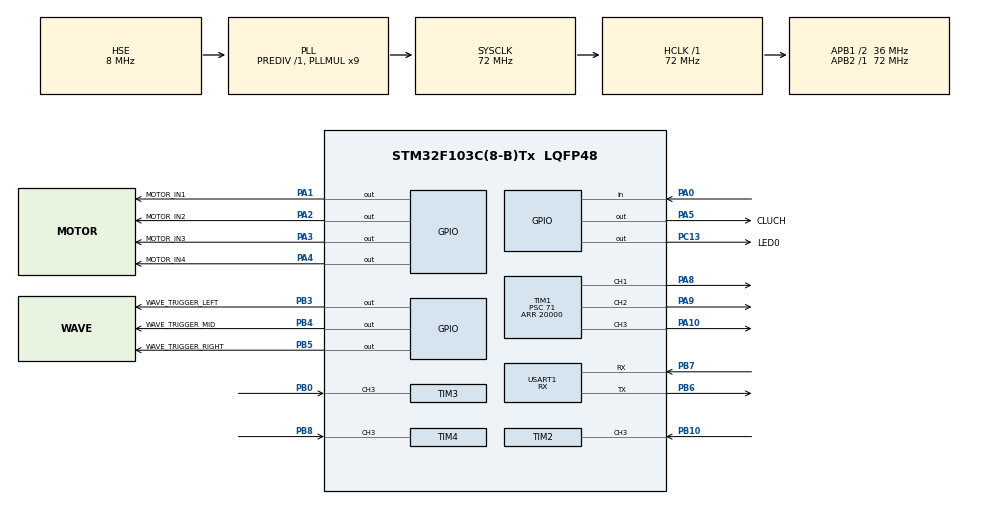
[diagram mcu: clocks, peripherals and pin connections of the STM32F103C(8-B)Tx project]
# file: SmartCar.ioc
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FREERTOS.Tasks01=motor_control,24,128,motor_control_task,Default,NULL,Dynamic,NULL,NULL;wave,25,128,wave_task,Default,NULL,Dynamic,NULL,NULL;uwb,25,128,uwb_task,Default,NULL,Dynamic,NULL,NULL;main_control,25,128,main_control_task,Default,NULL,Dynamic,NULL,NULL
Mcu.Family=STM32F1
Mcu.Name=STM32F103C(8-B)Tx
Mcu.Package=LQFP48
NVIC.PriorityGroup=NVIC_PRIORITYGROUP_4
NVIC.TIM2_IRQn=true\:5\:0\:true\:false\:true\:true\:true\:true
NVIC.TIM3_IRQn=true\:5\:0\:true\:false\:true\:true\:true\:true
NVIC.TIM4_IRQn=true\:5\:0\:true\:false\:true\:true\:true\:true
NVIC.USART1_IRQn=true\:6\:0\:true\:false\:true\:true\:true\:true
PA0-WKUP.Signal=GPIO_Input
PA1.GPIO_Label=MOTOR_IN1
PA1.Signal=GPIO_Output
PA10.Signal=S_TIM1_CH3
PA13.Mode=Serial_Wire
PA13.Signal=SYS_JTMS-SWDIO
PA14.Mode=Serial_Wire
PA14.Signal=SYS_JTCK-SWCLK
PA2.GPIO_Label=MOTOR_IN2
PA2.Signal=GPIO_Output
PA3.GPIO_Label=MOTOR_IN3
PA3.Signal=GPIO_Output
PA4.GPIO_Label=MOTOR_IN4
PA4.Signal=GPIO_Output
PA5.GPIO_Label=CLUCH
PA5.Signal=GPIO_Output
PA8.Signal=S_TIM1_CH1
PA9.Signal=S_TIM1_CH2
PB0.Signal=S_TIM3_CH3
PB10.Signal=S_TIM2_CH3
PB3.GPIO_Label=WAVE_TRIGGER_LEFT
PB3.Signal=GPIO_Output
PB4.GPIO_Label=WAVE_TRIGGER_MID
PB4.Signal=GPIO_Output
PB5.GPIO_Label=WAVE_TRIGGER_RIGHT
PB5.Signal=GPIO_Output
PB6.Mode=Asynchronous
PB6.Signal=USART1_TX
PB7.Mode=Asynchronous
PB7.Signal=USART1_RX
PB8.Signal=S_TIM4_CH3
PC13-TAMPER-RTC.GPIO_Label=LED0
PC13-TAMPER-RTC.GPIO_PuPd=GPIO_PULLUP
PC13-TAMPER-RTC.GPIO_Speed=GPIO_SPEED_FREQ_LOW
PC13-TAMPER-RTC.PinState=GPIO_PIN_SET
PC13-TAMPER-RTC.Signal=GPIO_Output
PD0-OSC_IN.Mode=HSE-External-Oscillator
PD0-OSC_IN.Signal=RCC_OSC_IN
PD1-OSC_OUT.Mode=HSE-External-Oscillator
PD1-OSC_OUT.Signal=RCC_OSC_OUT
ProjectManager.HeapSize=0x200
ProjectManager.StackSize=0x400
ProjectManager.TargetToolchain=MDK-ARM V5
RCC.AHBFreq_Value=72000000
RCC.APB1CLKDivider=RCC_HCLK_DIV2
RCC.APB1Freq_Value=36000000
RCC.APB1TimFreq_Value=72000000
RCC.APB2Freq_Value=72000000
RCC.APB2TimFreq_Value=72000000
RCC.EnbaleCSS=true
RCC.HCLKFreq_Value=72000000
RCC.PLLMUL=RCC_PLL_MUL9
RCC.PLLSourceVirtual=RCC_PLLSOURCE_HSE
RCC.SYSCLKFreq_VALUE=72000000
RCC.SYSCLKSource=RCC_SYSCLKSOURCE_PLLCLK
RCC.USBFreq_Value=72000000
SH.S_TIM1_CH1.0=TIM1_CH1,PWM Generation1 CH1
SH.S_TIM1_CH2.0=TIM1_CH2,PWM Generation2 CH2
SH.S_TIM1_CH3.0=TIM1_CH3,PWM Generation3 CH3
SH.S_TIM2_CH3.0=TIM2_CH3,Input_Capture3_from_TI3
SH.S_TIM3_CH3.0=TIM3_CH3,Input_Capture3_from_TI3
SH.S_TIM4_CH3.0=TIM4_CH3,Input_Capture3_from_TI3
TIM1.AutoReloadPreload=TIM_AUTORELOAD_PRELOAD_ENABLE
TIM1.Channel-PWM\ Generation1\ CH1=TIM_CHANNEL_1
TIM1.Channel-PWM\ Generation2\ CH2=TIM_CHANNEL_2
TIM1.Channel-PWM\ Generation3\ CH3=TIM_CHANNEL_3
TIM1.Period=20000
TIM1.Prescaler=71
TIM2.Channel-Input_Capture3_from_TI3=TIM_CHANNEL_3
TIM2.Prescaler=7199
TIM3.Channel-Input_Capture3_from_TI3=TIM_CHANNEL_3
TIM3.Prescaler=7199
TIM4.Channel-Input_Capture3_from_TI3=TIM_CHANNEL_3
USART1.Mode=MODE_RX
USART1.VirtualMode=VM_ASYNC
VP_FREERTOS_VS_CMSIS_V2.Mode=CMSIS_V2
board=custom

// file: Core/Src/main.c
/* USER CODE BEGIN Header */
/**
  ******************************************************************************
  * @file           : main.c
  * @brief          : Main program body
  ******************************************************************************
  * @attention
  *
  * <h2><center>&copy; Copyright (c) 2021 STMicroelectronics.
  * All rights reserved.</center></h2>
  *
  * This software component is licensed by ST under BSD 3-Clause license,
  * the "License"; You may not use this file except in compliance with the
  * License. You may obtain a copy of the License at:
  *                        opensource.org/licenses/BSD-3-Clause
  *
  ******************************************************************************
  */
/* USER CODE END Header */
#include "main.h"
#include "cmsis_os.h"
#include "tim.h"
#include "usart.h"
#include "gpio.h"

/* USER CODE BEGIN Includes */
#include "wave.h"
#include "uwb.h"
#include "motor.h"
/* USER CODE END Includes */

void SystemClock_Config(void);
void MX_FREERTOS_Init(void);

/* USER CODE BEGIN 0 */
   float lenL=0;
	 float lenM=0;
	 float lenR=0;
	 uint8_t length=0;
	 uint32_t timeL=0;
	 uint32_t timeM=0;
	 uint32_t timeR=0;
	 uint8_t uwb_index=0;
	 uint8_t uwb_index1=0;
	 uint8_t distl=0;
	 uint8_t distr=0;
	 uint8_t last_distl = 0;
	 uint8_t last_distr = 0;
	 uint8_t uwb_dist[20]={0};
/* USER CODE END 0 */

int main(void)
{

  /* MCU Configuration--------------------------------------------------------*/

  /* Reset of all peripherals, Initializes the Flash interface and the Systick. */
  HAL_Init();

  /* Configure the system clock */
  SystemClock_Config();

  /* Initialize all configured peripherals */
  MX_GPIO_Init();
  MX_TIM1_Init();
  MX_TIM3_Init();
  MX_USART1_UART_Init();
  MX_TIM2_Init();
  MX_TIM4_Init();
  /* USER CODE BEGIN 2 */
	Trig_Init();
	motor_init();
	steer_control(0);
	HAL_UART_Receive_IT(&huart1,(uint8_t *)aRxBuffer,1);

  /* USER CODE END 2 */

  /* Init scheduler */
  osKernelInitialize();  /* Call init function for freertos objects (in freertos.c) */
  MX_FREERTOS_Init();
  /* Start scheduler */
  osKernelStart();

  /* We should never get here as control is now taken by the scheduler */
  /* Infinite loop */
  while (1)
  {

  }
}

void SystemClock_Config(void)
{
  RCC_OscInitTypeDef RCC_OscInitStruct = {0};
  RCC_ClkInitTypeDef RCC_ClkInitStruct = {0};

  /** Initializes the RCC Oscillators according to the specified parameters
  * in the RCC_OscInitTypeDef structure.
  */
  RCC_OscInitStruct.OscillatorType = RCC_OSCILLATORTYPE_HSE;
  RCC_OscInitStruct.HSEState = RCC_HSE_ON;
  RCC_OscInitStruct.HSEPredivValue = RCC_HSE_PREDIV_DIV1;
  RCC_OscInitStruct.HSIState = RCC_HSI_ON;
  RCC_OscInitStruct.PLL.PLLState = RCC_PLL_ON;
  RCC_OscInitStruct.PLL.PLLSource = RCC_PLLSOURCE_HSE;
  RCC_OscInitStruct.PLL.PLLMUL = RCC_PLL_MUL9;
  if (HAL_RCC_OscConfig(&RCC_OscInitStruct) != HAL_OK)
  {
    Error_Handler();
  }
  /** Initializes the CPU, AHB and APB buses clocks
  */
  RCC_ClkInitStruct.ClockType = RCC_CLOCKTYPE_HCLK|RCC_CLOCKTYPE_SYSCLK
                              |RCC_CLOCKTYPE_PCLK1|RCC_CLOCKTYPE_PCLK2;
  RCC_ClkInitStruct.SYSCLKSource = RCC_SYSCLKSOURCE_PLLCLK;
  RCC_ClkInitStruct.AHBCLKDivider = RCC_SYSCLK_DIV1;
  RCC_ClkInitStruct.APB1CLKDivider = RCC_HCLK_DIV2;
  RCC_ClkInitStruct.APB2CLKDivider = RCC_HCLK_DIV1;

  if (HAL_RCC_ClockConfig(&RCC_ClkInitStruct, FLASH_LATENCY_2) != HAL_OK)
  {
    Error_Handler();
  }
  /** Enables the Clock Security System
  */
  HAL_RCC_EnableCSS();
}

void Error_Handler(void)
{
  __disable_irq();
  while (1)
  {
  }
}

/************************ (C) COPYRIGHT STMicroelectronics *****END OF FILE****/

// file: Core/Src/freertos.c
/* USER CODE BEGIN Header */
/**
  ******************************************************************************
  * File Name          : freertos.c
  * Description        : Code for freertos applications
  ******************************************************************************
  * @attention
  *
  * <h2><center>&copy; Copyright (c) 2021 STMicroelectronics.
  * All rights reserved.</center></h2>
  *
  * This software component is licensed by ST under Ultimate Liberty license
  * SLA0044, the "License"; You may not use this file except in compliance with
  * the License. You may obtain a copy of the License at:
  *                             www.st.com/SLA0044
  *
  ******************************************************************************
  */
/* USER CODE END Header */

#include "FreeRTOS.h"
#include "task.h"
#include "main.h"
#include "cmsis_os.h"

/* USER CODE BEGIN Includes */
#include "motor.h"
#include "uwb.h"
#include "wave.h"
#include "main_control.h"

/* USER CODE END Includes */

/* Definitions for motor_control */
osThreadId_t motor_controlHandle;
const osThreadAttr_t motor_control_attributes = {
  .name = "motor_control",
  .priority = (osPriority_t) osPriorityNormal,
  .stack_size = 128 * 4
};
/* Definitions for wave */
osThreadId_t waveHandle;
const osThreadAttr_t wave_attributes = {
  .name = "wave",
  .priority = (osPriority_t) osPriorityNormal1,
  .stack_size = 64 * 4
};
/* Definitions for uwb */
osThreadId_t uwbHandle;
const osThreadAttr_t uwb_attributes = {
  .name = "uwb",
  .priority = (osPriority_t) osPriorityAboveNormal,
  .stack_size = 128 * 4
};
/* Definitions for main_control */
osThreadId_t main_controlHandle;
const osThreadAttr_t main_control_attributes = {
  .name = "main_control",
  .priority = (osPriority_t) osPriorityNormal1,
  .stack_size = 128 * 4
};

/* USER CODE BEGIN FunctionPrototypes */
osThreadId_t wavem_controlHandle;
const osThreadAttr_t wavem_attributes = {
  .name = "wavem",
  .priority = (osPriority_t) osPriorityNormal1,
  .stack_size = 64 * 4
};

osThreadId_t waver_controlHandle;
const osThreadAttr_t waver_attributes = {
  .name = "waver",
  .priority = (osPriority_t) osPriorityNormal1,
  .stack_size = 64 * 4
};
/* USER CODE END FunctionPrototypes */

void motor_control_task(void *argument);
void wave_task(void *argument);
void uwb_task(void *argument);
void main_control_task(void *argument);
void wavem_task(void *argument);
void waver_task(void *argument);

void MX_FREERTOS_Init(void); /* (MISRA C 2004 rule 8.1) */

void MX_FREERTOS_Init(void) {

  /* Create the thread(s) */
  /* creation of motor_control */
  motor_controlHandle = osThreadNew(motor_control_task, NULL, &motor_control_attributes);

  /* creation of wave */
  waveHandle = osThreadNew(wave_task, NULL, &wave_attributes);

  /* creation of uwb */
  uwbHandle = osThreadNew(uwb_task, NULL, &uwb_attributes);

  /* creation of main_control */
  main_controlHandle = osThreadNew(main_control_task, NULL, &main_control_attributes);

  /* USER CODE BEGIN RTOS_THREADS */
  /* add threads, ... */
	 wavem_controlHandle = osThreadNew(wavem_task, NULL, &wavem_attributes);
	 waver_controlHandle = osThreadNew(waver_task, NULL, &waver_attributes);
  /* USER CODE END RTOS_THREADS */

}

/************************ (C) COPYRIGHT STMicroelectronics *****END OF FILE****/
